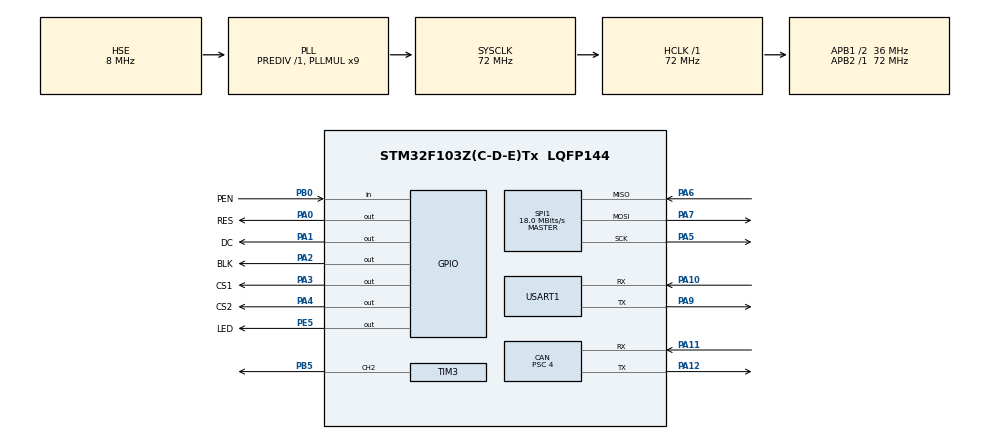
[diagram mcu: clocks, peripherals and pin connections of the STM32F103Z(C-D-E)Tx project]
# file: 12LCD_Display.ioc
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CAN.BS1=CAN_BS1_9TQ
CAN.BS2=CAN_BS2_8TQ
CAN.CalculateBaudRate=500000
CAN.CalculateTimeBit=2000
CAN.CalculateTimeQuantum=111.11111111111111
CAN.Prescaler=4
Mcu.Family=STM32F1
Mcu.Name=STM32F103Z(C-D-E)Tx
Mcu.Package=LQFP144
NVIC.PriorityGroup=NVIC_PRIORITYGROUP_4
NVIC.TIM6_IRQn=true\:0\:0\:false\:false\:true\:true\:true\:true
OSC_IN.Mode=HSE-External-Oscillator
OSC_IN.Signal=RCC_OSC_IN
OSC_OUT.Mode=HSE-External-Oscillator
OSC_OUT.Signal=RCC_OSC_OUT
PA0-WKUP.GPIO_Label=RES
PA0-WKUP.GPIO_PuPd=GPIO_PULLUP
PA0-WKUP.PinState=GPIO_PIN_SET
PA0-WKUP.Signal=GPIO_Output
PA1.GPIO_Label=DC
PA1.GPIO_PuPd=GPIO_PULLUP
PA1.PinState=GPIO_PIN_SET
PA1.Signal=GPIO_Output
PA10.Mode=Asynchronous
PA10.Signal=USART1_RX
PA11.Mode=CAN_Activate
PA11.Signal=CAN_RX
PA12.Mode=CAN_Activate
PA12.Signal=CAN_TX
PA13.Mode=Serial_Wire
PA13.Signal=SYS_JTMS-SWDIO
PA14.Mode=Serial_Wire
PA14.Signal=SYS_JTCK-SWCLK
PA2.GPIO_Label=BLK
PA2.GPIO_PuPd=GPIO_PULLUP
PA2.PinState=GPIO_PIN_SET
PA2.Signal=GPIO_Output
PA3.GPIO_Label=CS1
PA3.GPIO_PuPd=GPIO_PULLUP
PA3.PinState=GPIO_PIN_SET
PA3.Signal=GPIO_Output
PA4.GPIO_Label=CS2
PA4.GPIO_PuPd=GPIO_PULLUP
PA4.PinState=GPIO_PIN_SET
PA4.Signal=GPIO_Output
PA5.Mode=Full_Duplex_Master
PA5.Signal=SPI1_SCK
PA6.Mode=Full_Duplex_Master
PA6.Signal=SPI1_MISO
PA7.Mode=Full_Duplex_Master
PA7.Signal=SPI1_MOSI
PA9.Mode=Asynchronous
PA9.Signal=USART1_TX
PB0.GPIO_Label=PEN
PB0.GPIO_PuPd=GPIO_PULLUP
PB0.Signal=GPIO_Input
PB5.Signal=S_TIM3_CH2
PC14-OSC32_IN.Mode=LSE-External-Oscillator
PC14-OSC32_IN.Signal=RCC_OSC32_IN
PC15-OSC32_OUT.Mode=LSE-External-Oscillator
PC15-OSC32_OUT.Signal=RCC_OSC32_OUT
PE5.GPIO_Label=LED
PE5.GPIO_PuPd=GPIO_PULLUP
PE5.PinState=GPIO_PIN_SET
PE5.Signal=GPIO_Output
ProjectManager.HeapSize=0x200
ProjectManager.StackSize=0x700
ProjectManager.TargetToolchain=MDK-ARM V5.32
RCC.AHBFreq_Value=72000000
RCC.APB1CLKDivider=RCC_HCLK_DIV2
RCC.APB1Freq_Value=36000000
RCC.APB1TimFreq_Value=72000000
RCC.APB2Freq_Value=72000000
RCC.APB2TimFreq_Value=72000000
RCC.HCLKFreq_Value=72000000
RCC.PLLMUL=RCC_PLL_MUL9
RCC.PLLSourceVirtual=RCC_PLLSOURCE_HSE
RCC.RTCClockSelection=RCC_RTCCLKSOURCE_LSE
RCC.SYSCLKFreq_VALUE=72000000
RCC.SYSCLKSource=RCC_SYSCLKSOURCE_PLLCLK
RCC.USBFreq_Value=72000000
RTC.Date=22
RTC.Format=RTC_FORMAT_BIN
RTC.Hours=14
RTC.Minutes=22
RTC.Month=RTC_MONTH_MARCH
RTC.Seconds=16
RTC.Year=25
SH.S_TIM3_CH2.0=TIM3_CH2,PWM Generation2 CH2
SPI1.BaudRatePrescaler=SPI_BAUDRATEPRESCALER_4
SPI1.CalculateBaudRate=18.0 MBits/s
SPI1.Direction=SPI_DIRECTION_2LINES
SPI1.Mode=SPI_MODE_MASTER
SPI1.VirtualType=VM_MASTER
TIM1.Prescaler=72-1
TIM3.AutoReloadPreload=TIM_AUTORELOAD_PRELOAD_ENABLE
TIM3.Channel-PWM\ Generation2\ CH2=TIM_CHANNEL_2
TIM3.Period=100-1
TIM3.Prescaler=7200-1
TIM6.AutoReloadPreload=TIM_AUTORELOAD_PRELOAD_ENABLE
TIM6.Period=999
TIM6.Prescaler=71
USART1.VirtualMode=VM_ASYNC
VP_RTC_VS_RTC_Activate.Mode=RTC_Enabled
VP_RTC_VS_RTC_Calendar.Mode=RTC_Calendar
VP_TIM1_VS_ClockSourceINT.Mode=Internal
VP_TIM3_VS_ClockSourceINT.Mode=Internal
VP_TIM6_VS_ClockSourceINT.Mode=Enable_Timer
board=custom

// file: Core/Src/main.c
/* USER CODE BEGIN Header */
/**
  ******************************************************************************
  * @file           : main.c
  * @brief          : Main program body
  ******************************************************************************
  * @attention
  *
  * Copyright (c) 2024 STMicroelectronics.
  * All rights reserved.
  *
  * This software is licensed under terms that can be found in the LICENSE file
  * in the root directory of this software component.
  * If no LICENSE file comes with this software, it is provided AS-IS.
  *
  ******************************************************************************
  */
/* USER CODE END Header */
#include "main.h"
#include "can.h"
#include "rtc.h"
#include "spi.h"
#include "tim.h"
#include "usart.h"
#include "gpio.h"

/* USER CODE BEGIN Includes */
#include "lcd_init.h"
#include "lcd.h"
#include "pic.h"
#include "touch.h"
#include "lvgl.h"
#include "lv_port_disp_template.h"
#include "lv_port_indev_template.h"
#include "lv_demo_stress.h"
#include "lv_demo_widgets.h"
#include "ui.h"
#include "dht11.h"
#include <stdio.h>
#include "canif.h"
#include "can_handle.h"
/* USER CODE END Includes */

/* USER CODE BEGIN PD */
#define COLOR_RED   0xff,0x0,0x0
#define COLOR_WHITE   0xff,0xff,0xff
#define COLOR_YELLOW   0xff,0xff,0x0
/* USER CODE END PD */

/* USER CODE BEGIN PV */
lv_color_t color_value;
uint32_t time_count = 0;
uint32_t needle_angle = 0;
RTC_TimeTypeDef struct_rtc_time;
RTC_DateTypeDef struct_rtc_date;
uint8_t time_buff[15] = {0};
uint8_t date_buff[15] = {0};
uint32_t timetick = 0;
uint32_t lvtick = 0;
/* USER CODE END PV */

void SystemClock_Config(void);

int main(void)
{

  /* MCU Configuration--------------------------------------------------------*/

  /* Reset of all peripherals, Initializes the Flash interface and the Systick. */
  HAL_Init();

  /* Configure the system clock */
  SystemClock_Config();

  /* Initialize all configured peripherals */
  MX_GPIO_Init();
  MX_SPI1_Init();
  MX_USART1_UART_Init();
  MX_TIM6_Init();
  MX_TIM3_Init();
  MX_TIM1_Init();
  MX_RTC_Init();
  MX_CAN_Init();
  /* USER CODE BEGIN 2 */
	HAL_TIM_Base_Start_IT(&htim6);
	HAL_TIM_PWM_Start(&htim3, TIM_CHANNEL_2);

	Can_Filter_Init();
	lv_init();
	lv_port_disp_init();
	lv_port_indev_init();
	//lv_demo_widgets();
	ui_init();
	//lv_demo_stress();

  /* USER CODE END 2 */

  /* Infinite loop */
  /* USER CODE BEGIN WHILE */
  while (1)
  {

		if(HAL_GetTick() - lvtick > 5)
		{
			lvtick = HAL_GetTick();
			lv_timer_handler();

		}

		if(HAL_GetTick() - timetick >500)
		{
			timetick = HAL_GetTick();

			HAL_RTC_GetTime(&hrtc, &struct_rtc_time, RTC_FORMAT_BIN);
			sprintf((char *)(time_buff),"%2u:%2u:%2u", struct_rtc_time.Hours, struct_rtc_time.Minutes, struct_rtc_time.Seconds);
			lv_label_set_text(ui_LabelTime, (char *)time_buff);

			HAL_RTC_GetDate(&hrtc, &struct_rtc_date, RTC_FORMAT_BIN);
			sprintf((char *)date_buff,"20%2u-%2u-%2u", struct_rtc_date.Year, struct_rtc_date.Month, struct_rtc_date.Date);
			lv_label_set_text(ui_LabelDate, (char *)date_buff);
		}

		can_handle();
		if( ui_rpm.ui_freshflag == 1)
		{
			ui_rpm.ui_freshflag = 0;
		lv_img_set_angle(ui_ImageNeedle, ui_rpm.ui_value*2500/100);

		}

		if( ui_water_temp.ui_freshflag == 1)
		{
			ui_water_temp.ui_freshflag = 0;
			if(ui_water_temp.ui_value == 0)
			{
			color_value = lv_color_make(COLOR_WHITE);
		  lv_obj_set_style_img_recolor(ui_ImageTurnlight, color_value, 0);
			lv_obj_set_style_img_recolor_opa(ui_ImageTurnlight, 255, 0);

			}
			else
			{

			color_value = lv_color_make(COLOR_RED);
		  lv_obj_set_style_img_recolor(ui_ImageTurnlight, color_value, 0);
			lv_obj_set_style_img_recolor_opa(ui_ImageTurnlight, 255, 0);

			}

		}

				if( ui_safty_belt.ui_freshflag == 1)
		{
			ui_safty_belt.ui_freshflag = 0;
			if(ui_safty_belt.ui_value == 0)
			{
			color_value = lv_color_make(COLOR_WHITE);
		  lv_obj_set_style_img_recolor(ui_ImageTurnlight, color_value, 0);
			lv_obj_set_style_img_recolor_opa(ui_ImageTurnlight, 255, 0);

			}
			else
			{

			color_value = lv_color_make(COLOR_RED);
		  lv_obj_set_style_img_recolor(ui_ImageTurnlight, color_value, 0);
			lv_obj_set_style_img_recolor_opa(ui_ImageTurnlight, 255, 0);

			}

		}

			if( ui_light.ui_freshflag == 1)
		{
			ui_light.ui_freshflag = 0;
			if(ui_light.ui_value == 0)
			{
			color_value = lv_color_make(COLOR_WHITE);
		  lv_obj_set_style_img_recolor(ui_ImageLight, color_value, 0);
			lv_obj_set_style_img_recolor_opa(ui_ImageLight, 255, 0);

			}
			else if(ui_light.ui_value == 2)
			{

			color_value = lv_color_make(COLOR_YELLOW);
		  lv_obj_set_style_img_recolor(ui_ImageLight, color_value, 0);
			lv_obj_set_style_img_recolor_opa(ui_ImageLight, 255, 0);

			}
			else
			{
			color_value = lv_color_make(COLOR_RED);
		  lv_obj_set_style_img_recolor(ui_ImageLight, color_value, 0);
			lv_obj_set_style_img_recolor_opa(ui_ImageLight, 255, 0);

			}
		}

	if( ui_turn_light.ui_freshflag == 1)
		{
			ui_turn_light.ui_freshflag = 0;
			if(ui_turn_light.ui_value == 0)
			{
			color_value = lv_color_make(COLOR_WHITE);
		  lv_obj_set_style_img_recolor(ui_ImageTurnlight, color_value, 0);
			lv_obj_set_style_img_recolor_opa(ui_ImageTurnlight, 255, 0);

			}
			else
			{

			color_value = lv_color_make(COLOR_RED);
		  lv_obj_set_style_img_recolor(ui_ImageTurnlight, color_value, 0);
			lv_obj_set_style_img_recolor_opa(ui_ImageTurnlight, 255, 0);

			}

		}

    /* USER CODE END WHILE */

  }
}

void SystemClock_Config(void)
{
  RCC_OscInitTypeDef RCC_OscInitStruct = {0};
  RCC_ClkInitTypeDef RCC_ClkInitStruct = {0};
  RCC_PeriphCLKInitTypeDef PeriphClkInit = {0};

  /** Initializes the RCC Oscillators according to the specified parameters
  * in the RCC_OscInitTypeDef structure.
  */
  RCC_OscInitStruct.OscillatorType = RCC_OSCILLATORTYPE_HSE|RCC_OSCILLATORTYPE_LSE;
  RCC_OscInitStruct.HSEState = RCC_HSE_ON;
  RCC_OscInitStruct.HSEPredivValue = RCC_HSE_PREDIV_DIV1;
  RCC_OscInitStruct.LSEState = RCC_LSE_ON;
  RCC_OscInitStruct.HSIState = RCC_HSI_ON;
  RCC_OscInitStruct.PLL.PLLState = RCC_PLL_ON;
  RCC_OscInitStruct.PLL.PLLSource = RCC_PLLSOURCE_HSE;
  RCC_OscInitStruct.PLL.PLLMUL = RCC_PLL_MUL9;
  if (HAL_RCC_OscConfig(&RCC_OscInitStruct) != HAL_OK)
  {
    Error_Handler();
  }

  /** Initializes the CPU, AHB and APB buses clocks
  */
  RCC_ClkInitStruct.ClockType = RCC_CLOCKTYPE_HCLK|RCC_CLOCKTYPE_SYSCLK
                              |RCC_CLOCKTYPE_PCLK1|RCC_CLOCKTYPE_PCLK2;
  RCC_ClkInitStruct.SYSCLKSource = RCC_SYSCLKSOURCE_PLLCLK;
  RCC_ClkInitStruct.AHBCLKDivider = RCC_SYSCLK_DIV1;
  RCC_ClkInitStruct.APB1CLKDivider = RCC_HCLK_DIV2;
  RCC_ClkInitStruct.APB2CLKDivider = RCC_HCLK_DIV1;

  if (HAL_RCC_ClockConfig(&RCC_ClkInitStruct, FLASH_LATENCY_2) != HAL_OK)
  {
    Error_Handler();
  }
  PeriphClkInit.PeriphClockSelection = RCC_PERIPHCLK_RTC;
  PeriphClkInit.RTCClockSelection = RCC_RTCCLKSOURCE_LSE;
  if (HAL_RCCEx_PeriphCLKConfig(&PeriphClkInit) != HAL_OK)
  {
    Error_Handler();
  }
}

/* USER CODE BEGIN 4 */
void HAL_TIM_PeriodElapsedCallback(TIM_HandleTypeDef *htim)
{
	if (htim->Instance == TIM6)
	{
	 	lv_tick_inc(1);
	}

}
/* USER CODE END 4 */

void Error_Handler(void)
{
  __disable_irq();
  while (1)
  {
  }
}
